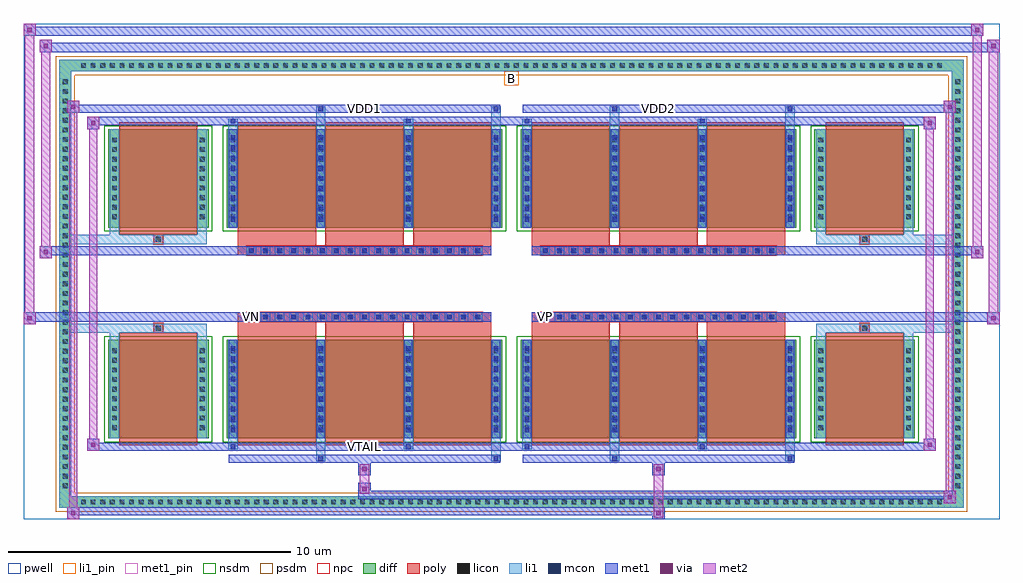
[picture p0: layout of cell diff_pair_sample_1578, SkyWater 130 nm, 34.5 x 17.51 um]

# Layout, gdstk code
import gdstk
lib = gdstk.Library(unit=1e-6, precision=5e-09)
def R(c, l, rs):  # rectangles x0, y0, x1, y1
    for r in rs: c.add(gdstk.rectangle(r[:2], r[2:], *l))
def A(c, l, x, y, w, h, nx, ny, dx, dy):  # array of equal rectangles
    R(c, l, [(x+i*dx, y+j*dy, x+i*dx+w, y+j*dy+h) for i in range(nx) for j in range(ny)])
def P(c, l, *ps):  # polygons
    for p in ps: c.add(gdstk.Polygon(p, *l))
pwell = (64, 44)
diff = (65, 20)
poly = (66, 20)
licon = (66, 44)
li1_pin = (67, 16)
li1 = (67, 20)
mcon = (67, 44)
met1_pin = (68, 16)
met1 = (68, 20)
via = (68, 44)
met2 = (69, 20)
nsdm = (93, 44)
psdm = (94, 20)
npc = (95, 20)

diff_pair_sample_1578 = lib.new_cell('diff_pair_sample_1578')
R(diff_pair_sample_1578, pwell, [(-17.25,-8.32,17.25,9.19), (-14.57,-6.51,-0.01,-0.805), (0.01,-6.51,14.57,-0.805), (-14.57,0.805,-0.01,6.51), (0.01,0.805,14.57,6.51)])
A(diff_pair_sample_1578, diff, -15.335, -7.92, 0.41, 0.41, 90, 2, 0.34, 15.43)
A(diff_pair_sample_1578, diff, -15.98, -7.345, 0.41, 0.41, 1, 43, 0, 0.34)
A(diff_pair_sample_1578, diff, 15.57, -7.345, 0.41, 0.41, 1, 43, 0, 0.34)
R(diff_pair_sample_1578, diff, [(-15.335,-7.92,15.335,-7.51), (-15.98,-7.345,-15.57,7.345), (15.57,-7.345,15.98,7.345), (-14.26,-5.465,-10.71,-1.985), (-10.07,-5.465,-0.32,-1.985), (0.32,-5.465,10.07,-1.985), (10.71,-5.465,14.26,-1.985), (-14.26,1.985,-10.71,5.465), (-10.07,1.985,-0.32,5.465), (0.32,1.985,10.07,5.465), (10.71,1.985,14.26,5.465), (-15.335,7.51,15.335,7.92)])
P(diff_pair_sample_1578, diff, [(15.98,7.92),(-15.98,7.92),(-15.98,-7.51),(-15.57,-7.51),(-15.57,7.51),(15.57,7.51),(15.57,-7.51),(-15.57,-7.51),(-15.98,-7.51),(-15.98,-7.92),(15.98,-7.92)])
A(diff_pair_sample_1578, poly, -9.68, -5.715, 2.77, 3.98, 3, 2, 3.1, 7.45)
A(diff_pair_sample_1578, poly, 0.71, -5.715, 2.77, 3.98, 3, 2, 3.1, 7.45)
A(diff_pair_sample_1578, poly, -9.68, -1.735, 2.77, 0.4, 3, 2, 3.1, 3.07)
A(diff_pair_sample_1578, poly, 0.71, -1.735, 2.77, 0.4, 3, 2, 3.1, 3.07)
A(diff_pair_sample_1578, poly, -9.36, -1.335, 0.33, 0.33, 17, 2, 0.5, 2.34)
A(diff_pair_sample_1578, poly, 1.03, -1.335, 0.33, 0.33, 17, 2, 0.5, 2.34)
R(diff_pair_sample_1578, poly, [(-13.87,-5.715,-11.1,-1.735), (11.1,-5.715,13.87,-1.735), (-12.65,-1.735,-12.32,-1.405), (-12.65,-1.735,-12.32,-1.405), (12.32,-1.735,12.65,-1.405), (12.32,-1.735,12.65,-1.405), (-9.68,-1.335,-0.71,-1.005), (0.71,-1.335,9.68,-1.005), (-9.68,1.005,-0.71,1.335), (0.71,1.005,9.68,1.335), (-12.65,1.405,-12.32,1.735), (-12.65,1.405,-12.32,1.735), (12.32,1.405,12.65,1.735), (12.32,1.405,12.65,1.735), (-13.87,1.735,-11.1,5.715), (11.1,1.735,13.87,5.715)])
A(diff_pair_sample_1578, licon, -15.215, -7.8, 0.17, 0.17, 90, 2, 0.34, 15.43)
A(diff_pair_sample_1578, licon, -15.86, -7.225, 0.17, 0.17, 1, 43, 0, 0.34)
A(diff_pair_sample_1578, licon, 15.69, -7.225, 0.17, 0.17, 1, 43, 0, 0.34)
A(diff_pair_sample_1578, licon, -14.12, -5.17, 0.17, 0.17, 1, 9, 0, 0.34)
A(diff_pair_sample_1578, licon, -11.02, -5.17, 0.17, 0.17, 1, 9, 0, 0.34)
A(diff_pair_sample_1578, licon, -9.93, -5.17, 0.17, 0.17, 4, 9, 3.1, 0.34)
A(diff_pair_sample_1578, licon, 0.46, -5.17, 0.17, 0.17, 4, 9, 3.1, 0.34)
A(diff_pair_sample_1578, licon, 10.85, -5.17, 0.17, 0.17, 1, 9, 0, 0.34)
A(diff_pair_sample_1578, licon, 13.95, -5.17, 0.17, 0.17, 1, 9, 0, 0.34)
A(diff_pair_sample_1578, licon, -9.28, -1.255, 0.17, 0.17, 17, 2, 0.5, 2.34)
A(diff_pair_sample_1578, licon, 1.11, -1.255, 0.17, 0.17, 17, 2, 0.5, 2.34)
A(diff_pair_sample_1578, licon, -14.12, 2.28, 0.17, 0.17, 1, 9, 0, 0.34)
A(diff_pair_sample_1578, licon, -11.02, 2.28, 0.17, 0.17, 1, 9, 0, 0.34)
A(diff_pair_sample_1578, licon, -9.93, 2.28, 0.17, 0.17, 4, 9, 3.1, 0.34)
A(diff_pair_sample_1578, licon, 0.46, 2.28, 0.17, 0.17, 4, 9, 3.1, 0.34)
A(diff_pair_sample_1578, licon, 10.85, 2.28, 0.17, 0.17, 1, 9, 0, 0.34)
A(diff_pair_sample_1578, licon, 13.95, 2.28, 0.17, 0.17, 1, 9, 0, 0.34)
R(diff_pair_sample_1578, licon, [(-12.57,-1.655,-12.4,-1.485), (12.4,-1.655,12.57,-1.485), (-12.57,1.485,-12.4,1.655), (12.4,1.485,12.57,1.655)])
R(diff_pair_sample_1578, li1_pin, [(-0.25,7.01,0.25,7.51)])
A(diff_pair_sample_1578, li1, -15.295, -7.88, 0.33, 0.33, 90, 2, 0.34, 15.43)
A(diff_pair_sample_1578, li1, -15.94, -7.305, 0.33, 0.33, 1, 43, 0, 0.34)
A(diff_pair_sample_1578, li1, 15.61, -7.305, 0.33, 0.33, 1, 43, 0, 0.34)
A(diff_pair_sample_1578, li1, -10.01, -5.465, 0.33, 3.48, 4, 2, 3.1, 7.45)
A(diff_pair_sample_1578, li1, 0.38, -5.465, 0.33, 3.48, 4, 2, 3.1, 7.45)
A(diff_pair_sample_1578, li1, -14.2, -5.25, 0.33, 0.33, 1, 9, 0, 0.34)
A(diff_pair_sample_1578, li1, -11.1, -5.25, 0.33, 0.33, 1, 9, 0, 0.34)
A(diff_pair_sample_1578, li1, -10.01, -5.25, 0.33, 0.33, 4, 9, 3.1, 0.34)
A(diff_pair_sample_1578, li1, -9.93, -5.25, 0.17, 0.17, 4, 9, 3.1, 0.36)
A(diff_pair_sample_1578, li1, -9.93, -5.25, 0.17, 3.05, 4, 2, 3.1, 7.45)
A(diff_pair_sample_1578, li1, 0.38, -5.25, 0.33, 0.33, 4, 9, 3.1, 0.34)
A(diff_pair_sample_1578, li1, 0.46, -5.25, 0.17, 0.17, 4, 9, 3.1, 0.36)
A(diff_pair_sample_1578, li1, 0.46, -5.25, 0.17, 3.05, 4, 2, 3.1, 7.45)
A(diff_pair_sample_1578, li1, 10.77, -5.25, 0.33, 0.33, 1, 9, 0, 0.34)
A(diff_pair_sample_1578, li1, 13.87, -5.25, 0.33, 0.33, 1, 9, 0, 0.34)
A(diff_pair_sample_1578, li1, -9.36, -1.335, 0.33, 0.33, 17, 2, 0.5, 2.34)
A(diff_pair_sample_1578, li1, 1.03, -1.335, 0.33, 0.33, 17, 2, 0.5, 2.34)
A(diff_pair_sample_1578, li1, -14.2, 2.2, 0.33, 0.33, 1, 9, 0, 0.34)
A(diff_pair_sample_1578, li1, -11.1, 2.2, 0.33, 0.33, 1, 9, 0, 0.34)
A(diff_pair_sample_1578, li1, -10.01, 2.2, 0.33, 0.33, 4, 9, 3.1, 0.34)
A(diff_pair_sample_1578, li1, -9.93, 2.2, 0.17, 0.17, 4, 9, 3.1, 0.36)
A(diff_pair_sample_1578, li1, 0.38, 2.2, 0.33, 0.33, 4, 9, 3.1, 0.34)
A(diff_pair_sample_1578, li1, 0.46, 2.2, 0.17, 0.17, 4, 9, 3.1, 0.36)
A(diff_pair_sample_1578, li1, 10.77, 2.2, 0.33, 0.33, 1, 9, 0, 0.34)
A(diff_pair_sample_1578, li1, 13.87, 2.2, 0.33, 0.33, 1, 9, 0, 0.34)
R(diff_pair_sample_1578, li1, [(-15.98,-7.92,-15.57,-7.51), (-15.98,-7.92,-15.57,-7.51), (-15.57,-7.92,15.57,-7.51), (15.57,-7.92,15.98,-7.51), (15.57,-7.92,15.98,-7.51), (-15.98,-7.51,-15.57,7.51), (15.57,-7.51,15.98,7.51), (-6.91,-6.27,-6.58,-5.465), (-6.83,-6.27,-6.66,-6.1), (-0.71,-6.27,-0.38,-5.465), (-0.63,-6.27,-0.46,-6.1), (3.48,-6.27,3.81,-5.465), (3.56,-6.27,3.73,-6.1), (9.68,-6.27,10.01,-5.465), (9.76,-6.27,9.93,-6.1), (-10.01,-5.84,-9.68,-5.465), (-9.93,-5.84,-9.76,-5.67), (-3.81,-5.84,-3.48,-5.465), (-3.73,-5.84,-3.56,-5.67), (0.38,-5.84,0.71,-5.465), (0.46,-5.84,0.63,-5.67), (6.58,-5.84,6.91,-5.465), (6.66,-5.84,6.83,-5.67), (-14.2,-5.465,-13.87,-1.985), (-11.1,-5.465,-10.77,-1.985), (10.77,-5.465,11.1,-1.985), (13.87,-5.465,14.2,-1.985), (-14.2,-1.985,-13.87,-1.405), (-11.1,-1.985,-10.77,-1.405), (10.77,-1.985,11.1,-1.405), (13.87,-1.985,14.2,-1.405), (-15.98,-1.735,-12.65,-1.405), (-14.2,-1.735,-12.65,-1.405), (-12.65,-1.735,-12.32,-1.405), (-12.32,-1.735,-10.77,-1.405), (10.77,-1.735,12.32,-1.405), (12.32,-1.735,12.65,-1.405), (12.32,-1.735,15.98,-1.405), (12.65,-1.735,14.2,-1.405), (-15.98,1.405,-12.65,1.735), (-14.2,1.405,-12.65,1.735), (-14.2,1.405,-13.87,1.985), (-12.65,1.405,-12.32,1.735), (-12.32,1.405,-10.77,1.735), (-11.1,1.405,-10.77,1.985), (10.77,1.405,12.32,1.735), (10.77,1.405,11.1,1.985), (12.32,1.405,12.65,1.735), (12.32,1.405,15.98,1.735), (12.65,1.405,14.2,1.735), (13.87,1.405,14.2,1.985), (-14.2,1.985,-13.87,5.465), (-11.1,1.985,-10.77,5.465), (10.77,1.985,11.1,5.465), (13.87,1.985,14.2,5.465), (-10.01,5.465,-9.68,5.84), (-6.91,5.465,-6.58,6.27), (-3.81,5.465,-3.48,5.84), (-0.71,5.465,-0.38,6.27), (0.38,5.465,0.71,5.84), (3.48,5.465,3.81,6.27), (6.58,5.465,6.91,5.84), (9.68,5.465,10.01,6.27), (-9.93,5.67,-9.76,5.84), (-3.73,5.67,-3.56,5.84), (0.46,5.67,0.63,5.84), (6.66,5.67,6.83,5.84), (-6.83,6.1,-6.66,6.27), (-0.63,6.1,-0.46,6.27), (3.56,6.1,3.73,6.27), (9.76,6.1,9.93,6.27), (-15.98,7.51,-15.57,7.92), (-15.98,7.51,-15.57,7.92), (-15.57,7.51,15.57,7.92), (15.57,7.51,15.98,7.92), (15.57,7.51,15.98,7.92)])
A(diff_pair_sample_1578, mcon, -9.93, -5.25, 0.17, 0.17, 4, 9, 3.1, 0.36)
A(diff_pair_sample_1578, mcon, 0.46, -5.25, 0.17, 0.17, 4, 9, 3.1, 0.36)
A(diff_pair_sample_1578, mcon, -9.28, -1.255, 0.17, 0.17, 17, 2, 0.5, 2.34)
A(diff_pair_sample_1578, mcon, 1.11, -1.255, 0.17, 0.17, 17, 2, 0.5, 2.34)
A(diff_pair_sample_1578, mcon, -9.93, 2.2, 0.17, 0.17, 4, 9, 3.1, 0.36)
A(diff_pair_sample_1578, mcon, 0.46, 2.2, 0.17, 0.17, 4, 9, 3.1, 0.36)
R(diff_pair_sample_1578, mcon, [(-6.83,-6.27,-6.66,-6.1), (-0.63,-6.27,-0.46,-6.1), (3.56,-6.27,3.73,-6.1), (9.76,-6.27,9.93,-6.1), (-9.93,-5.84,-9.76,-5.67), (-3.73,-5.84,-3.56,-5.67), (0.46,-5.84,0.63,-5.67), (6.66,-5.84,6.83,-5.67), (-9.93,5.67,-9.76,5.84), (-3.73,5.67,-3.56,5.84), (0.46,5.67,0.63,5.84), (6.66,5.67,6.83,5.84), (-6.83,6.1,-6.66,6.27), (-0.63,6.1,-0.46,6.27), (3.56,6.1,3.73,6.27), (9.76,6.1,9.93,6.27)])
R(diff_pair_sample_1578, met1_pin, [(-5.33,-5.88,-5.06,-5.61), (-9.33,-1.295,-9.06,-1.025), (1.06,-1.295,1.33,-1.025), (-5.33,6.06,-5.06,6.33), (5.06,6.06,5.33,6.33)])
A(diff_pair_sample_1578, met1, -9.99, -5.465, 0.29, 3.48, 4, 2, 3.1, 7.45)
A(diff_pair_sample_1578, met1, 0.4, -5.465, 0.29, 3.48, 4, 2, 3.1, 7.45)
A(diff_pair_sample_1578, met1, -9.99, -5.31, 0.29, 0.29, 4, 9, 3.1, 0.36)
A(diff_pair_sample_1578, met1, 0.4, -5.31, 0.29, 0.29, 4, 9, 3.1, 0.36)
A(diff_pair_sample_1578, met1, -9.34, -1.315, 0.29, 0.29, 17, 2, 0.5, 2.34)
A(diff_pair_sample_1578, met1, 1.05, -1.315, 0.29, 0.29, 17, 2, 0.5, 2.34)
A(diff_pair_sample_1578, met1, -9.99, 2.14, 0.29, 0.29, 4, 9, 3.1, 0.36)
A(diff_pair_sample_1578, met1, 0.4, 2.14, 0.29, 0.29, 4, 9, 3.1, 0.36)
R(diff_pair_sample_1578, met1, [(-15.71,-8.32,-15.28,-7.89), (4.98,-8.32,5.41,-7.89), (-15.71,-8.18,5.41,-7.89), (15.28,-7.75,15.71,-7.32), (-5.41,-7.61,15.71,-7.32), (-5.41,-7.47,-4.98,-7.04), (-5.41,-6.76,-4.98,-6.33), (4.98,-6.76,5.41,-6.33), (-9.99,-6.33,-0.4,-6.04), (-6.89,-6.33,-6.6,-6.04), (-0.69,-6.33,-0.4,-6.04), (0.4,-6.33,9.99,-6.04), (3.5,-6.33,3.79,-6.04), (9.7,-6.33,9.99,-6.04), (-15,-5.9,-14.57,-5.47), (-15,-5.9,-9.99,-5.61), (-9.99,-5.9,-9.7,-5.61), (-9.99,-5.9,-0.4,-5.61), (-3.79,-5.9,-3.5,-5.61), (-0.4,-5.9,0.4,-5.61), (0.4,-5.9,0.69,-5.61), (0.4,-5.9,9.99,-5.61), (6.6,-5.9,6.89,-5.61), (9.99,-5.9,15,-5.61), (14.57,-5.9,15,-5.47), (-17.25,-1.435,-16.82,-1.005), (16.82,-1.435,17.25,-1.005), (-17.25,-1.335,-0.71,-1.005), (-9.68,-1.335,-0.71,-1.005), (0.71,-1.335,9.68,-1.005), (0.71,-1.335,17.25,-1.005), (-16.68,0.905,-16.25,1.335), (16.25,0.905,16.68,1.335), (-16.68,1.005,-9.68,1.335), (-9.68,1.005,-0.71,1.335), (0.71,1.005,9.68,1.335), (9.68,1.005,16.68,1.335), (-15,5.47,-14.57,5.9), (14.57,5.47,15,5.9), (-15,5.61,-9.99,5.9), (-9.99,5.61,-9.7,5.9), (-9.99,5.61,-0.4,5.9), (-3.79,5.61,-3.5,5.9), (-0.4,5.61,0.4,5.9), (0.4,5.61,0.69,5.9), (0.4,5.61,9.99,5.9), (6.6,5.61,6.89,5.9), (9.99,5.61,15,5.9), (-15.71,6.04,-15.28,6.47), (-15.71,6.04,-9.99,6.33), (-9.99,6.04,-0.4,6.33), (-6.89,6.04,-6.6,6.33), (-0.69,6.04,-0.4,6.33), (0.4,6.04,9.99,6.33), (3.5,6.04,3.79,6.33), (9.7,6.04,9.99,6.33), (9.99,6.04,15.71,6.33), (15.28,6.04,15.71,6.47), (-16.68,8.19,-16.25,8.62), (-16.68,8.19,-14.57,8.52), (-14.57,8.19,14.57,8.52), (14.57,8.19,17.25,8.52), (16.82,8.19,17.25,8.62), (-17.25,8.76,-16.82,9.19), (-17.25,8.76,-14.57,9.09), (-14.57,8.76,14.57,9.09), (14.57,8.76,16.68,9.09), (16.25,8.76,16.68,9.19)])
R(diff_pair_sample_1578, via, [(-15.57,-8.18,-15.42,-8.03), (5.12,-8.18,5.27,-8.03), (15.42,-7.61,15.57,-7.46), (-5.27,-7.33,-5.12,-7.18), (-5.27,-6.62,-5.12,-6.47), (5.12,-6.62,5.27,-6.47), (-14.86,-5.76,-14.71,-5.61), (14.71,-5.76,14.86,-5.61), (-17.11,-1.295,-16.96,-1.145), (16.96,-1.295,17.11,-1.145), (-16.54,1.045,-16.39,1.195), (16.39,1.045,16.54,1.195), (-14.86,5.61,-14.71,5.76), (14.71,5.61,14.86,5.76), (-15.57,6.18,-15.42,6.33), (15.42,6.18,15.57,6.33), (-16.54,8.33,-16.39,8.48), (16.96,8.33,17.11,8.48), (-17.11,8.9,-16.96,9.05), (16.39,8.9,16.54,9.05)])
R(diff_pair_sample_1578, met2, [(-15.71,-8.32,-15.28,-7.89), (-15.64,-8.32,-15.35,6.47), (-15.35,-8.32,-15.28,-7.89), (-15.66,-8.27,-15.33,-7.94), (5.03,-8.27,5.36,-7.94), (5.03,-7.94,5.36,-6.71), (15.28,-7.75,15.71,-7.32), (15.35,-7.75,15.64,6.47), (15.64,-7.75,15.71,-7.32), (15.33,-7.7,15.66,-7.37), (-5.36,-7.42,-5.03,-7.09), (-5.36,-7.09,-5.03,-6.71), (-5.36,-6.71,-5.03,-6.38), (5.03,-6.71,5.36,-6.38), (-15,-5.9,-14.57,-5.47), (-14.93,-5.9,-14.64,5.9), (-14.64,-5.9,-14.57,-5.47), (14.57,-5.9,15,-5.47), (14.64,-5.9,14.93,5.9), (14.93,-5.9,15,-5.47), (-14.95,-5.85,-14.62,-5.52), (14.62,-5.85,14.95,-5.52), (-17.25,-1.435,-16.82,-1.005), (-17.2,-1.435,-16.87,9.19), (-16.87,-1.435,-16.82,-1.005), (16.82,-1.435,17.25,-1.005), (16.87,-1.435,17.2,8.62), (17.2,-1.435,17.25,-1.005), (-17.2,-1.385,-16.87,-1.055), (16.87,-1.385,17.2,-1.055), (-16.68,0.905,-16.25,1.335), (-16.63,0.905,-16.3,8.62), (-16.3,0.905,-16.25,1.335), (16.25,0.905,16.68,1.335), (16.3,0.905,16.63,9.19), (16.63,0.905,16.68,1.335), (-16.63,0.955,-16.3,1.285), (16.3,0.955,16.63,1.285), (-15,5.47,-14.57,5.9), (-14.64,5.47,-14.57,5.9), (14.57,5.47,15,5.9), (14.93,5.47,15,5.9), (-14.95,5.52,-14.62,5.85), (14.62,5.52,14.95,5.85), (-15.71,6.04,-15.28,6.47), (-15.35,6.04,-15.28,6.47), (15.28,6.04,15.71,6.47), (15.64,6.04,15.71,6.47), (-15.66,6.09,-15.33,6.42), (15.33,6.09,15.66,6.42), (-16.68,8.19,-16.25,8.62), (-16.3,8.19,-16.25,8.62), (16.82,8.19,17.25,8.62), (17.2,8.19,17.25,8.62), (-16.63,8.24,-16.3,8.57), (16.87,8.24,17.2,8.57), (-17.25,8.76,-16.82,9.19), (-16.87,8.76,-16.82,9.19), (16.25,8.76,16.68,9.19), (16.63,8.76,16.68,9.19), (-17.2,8.81,-16.87,9.14), (16.3,8.81,16.63,9.14)])
R(diff_pair_sample_1578, nsdm, [(-14.39,-5.595,-10.58,-1.855), (-10.2,-5.595,-0.19,-1.855), (0.19,-5.595,10.2,-1.855), (10.58,-5.595,14.39,-1.855), (-14.39,1.855,-10.58,5.595), (-10.2,1.855,-0.19,5.595), (0.19,1.855,10.2,5.595), (10.58,1.855,14.39,5.595)])
P(diff_pair_sample_1578, psdm, [(16.11,8.05),(-16.11,8.05),(-16.11,-7.38),(-15.44,-7.38),(-15.44,7.38),(15.44,7.38),(15.44,-7.38),(-15.44,-7.38),(-16.11,-7.38),(-16.11,-8.05),(16.11,-8.05)])
A(diff_pair_sample_1578, npc, -9.38, -1.355, 0.37, 0.37, 17, 2, 0.5, 2.34)
A(diff_pair_sample_1578, npc, 1.01, -1.355, 0.37, 0.37, 17, 2, 0.5, 2.34)
R(diff_pair_sample_1578, npc, [(-12.67,-1.755,-12.3,-1.385), (12.3,-1.755,12.67,-1.385), (-9.38,-1.355,-8.51,-0.985), (-9.38,-1.355,-8.51,-0.985), (-8.88,-1.355,-8.01,-0.985), (-8.88,-1.355,-8.01,-0.985), (-8.38,-1.355,-7.51,-0.985), (-8.38,-1.355,-7.51,-0.985), (-7.88,-1.355,-7.01,-0.985), (-7.88,-1.355,-7.01,-0.985), (-7.38,-1.355,-6.51,-0.985), (-7.38,-1.355,-6.51,-0.985), (-6.88,-1.355,-6.01,-0.985), (-6.88,-1.355,-6.01,-0.985), (-6.38,-1.355,-5.51,-0.985), (-6.38,-1.355,-5.51,-0.985), (-5.88,-1.355,-5.01,-0.985), (-5.88,-1.355,-5.01,-0.985), (-5.38,-1.355,-4.51,-0.985), (-5.38,-1.355,-4.51,-0.985), (-4.88,-1.355,-4.01,-0.985), (-4.88,-1.355,-4.01,-0.985), (-4.38,-1.355,-3.51,-0.985), (-4.38,-1.355,-3.51,-0.985), (-3.88,-1.355,-3.01,-0.985), (-3.88,-1.355,-3.01,-0.985), (-3.38,-1.355,-2.51,-0.985), (-3.38,-1.355,-2.51,-0.985), (-2.88,-1.355,-2.01,-0.985), (-2.88,-1.355,-2.01,-0.985), (-2.38,-1.355,-1.51,-0.985), (-2.38,-1.355,-1.51,-0.985), (-1.88,-1.355,-1.01,-0.985), (-1.88,-1.355,-1.01,-0.985), (1.01,-1.355,1.88,-0.985), (1.01,-1.355,1.88,-0.985), (1.51,-1.355,2.38,-0.985), (1.51,-1.355,2.38,-0.985), (2.01,-1.355,2.88,-0.985), (2.01,-1.355,2.88,-0.985), (2.51,-1.355,3.38,-0.985), (2.51,-1.355,3.38,-0.985), (3.01,-1.355,3.88,-0.985), (3.01,-1.355,3.88,-0.985), (3.51,-1.355,4.38,-0.985), (3.51,-1.355,4.38,-0.985), (4.01,-1.355,4.88,-0.985), (4.01,-1.355,4.88,-0.985), (4.51,-1.355,5.38,-0.985), (4.51,-1.355,5.38,-0.985), (5.01,-1.355,5.88,-0.985), (5.01,-1.355,5.88,-0.985), (5.51,-1.355,6.38,-0.985), (5.51,-1.355,6.38,-0.985), (6.01,-1.355,6.88,-0.985), (6.01,-1.355,6.88,-0.985), (6.51,-1.355,7.38,-0.985), (6.51,-1.355,7.38,-0.985), (7.01,-1.355,7.88,-0.985), (7.01,-1.355,7.88,-0.985), (7.51,-1.355,8.38,-0.985), (7.51,-1.355,8.38,-0.985), (8.01,-1.355,8.88,-0.985), (8.01,-1.355,8.88,-0.985), (8.51,-1.355,9.38,-0.985), (8.51,-1.355,9.38,-0.985), (-9.38,0.985,-8.51,1.355), (-9.38,0.985,-8.51,1.355), (-8.88,0.985,-8.01,1.355), (-8.88,0.985,-8.01,1.355), (-8.38,0.985,-7.51,1.355), (-8.38,0.985,-7.51,1.355), (-7.88,0.985,-7.01,1.355), (-7.88,0.985,-7.01,1.355), (-7.38,0.985,-6.51,1.355), (-7.38,0.985,-6.51,1.355), (-6.88,0.985,-6.01,1.355), (-6.88,0.985,-6.01,1.355), (-6.38,0.985,-5.51,1.355), (-6.38,0.985,-5.51,1.355), (-5.88,0.985,-5.01,1.355), (-5.88,0.985,-5.01,1.355), (-5.38,0.985,-4.51,1.355), (-5.38,0.985,-4.51,1.355), (-4.88,0.985,-4.01,1.355), (-4.88,0.985,-4.01,1.355), (-4.38,0.985,-3.51,1.355), (-4.38,0.985,-3.51,1.355), (-3.88,0.985,-3.01,1.355), (-3.88,0.985,-3.01,1.355), (-3.38,0.985,-2.51,1.355), (-3.38,0.985,-2.51,1.355), (-2.88,0.985,-2.01,1.355), (-2.88,0.985,-2.01,1.355), (-2.38,0.985,-1.51,1.355), (-2.38,0.985,-1.51,1.355), (-1.88,0.985,-1.01,1.355), (-1.88,0.985,-1.01,1.355), (1.01,0.985,1.88,1.355), (1.01,0.985,1.88,1.355), (1.51,0.985,2.38,1.355), (1.51,0.985,2.38,1.355), (2.01,0.985,2.88,1.355), (2.01,0.985,2.88,1.355), (2.51,0.985,3.38,1.355), (2.51,0.985,3.38,1.355), (3.01,0.985,3.88,1.355), (3.01,0.985,3.88,1.355), (3.51,0.985,4.38,1.355), (3.51,0.985,4.38,1.355), (4.01,0.985,4.88,1.355), (4.01,0.985,4.88,1.355), (4.51,0.985,5.38,1.355), (4.51,0.985,5.38,1.355), (5.01,0.985,5.88,1.355), (5.01,0.985,5.88,1.355), (5.51,0.985,6.38,1.355), (5.51,0.985,6.38,1.355), (6.01,0.985,6.88,1.355), (6.01,0.985,6.88,1.355), (6.51,0.985,7.38,1.355), (6.51,0.985,7.38,1.355), (7.01,0.985,7.88,1.355), (7.01,0.985,7.88,1.355), (7.51,0.985,8.38,1.355), (7.51,0.985,8.38,1.355), (8.01,0.985,8.88,1.355), (8.01,0.985,8.88,1.355), (8.51,0.985,9.38,1.355), (8.51,0.985,9.38,1.355), (-12.67,1.385,-12.3,1.755), (12.3,1.385,12.67,1.755)])
diff_pair_sample_1578.add(gdstk.Label('VTAIL', (-5.195,-5.745), layer=68, texttype=5))
diff_pair_sample_1578.add(gdstk.Label('VN', (-9.195,-1.16), layer=68, texttype=5))
diff_pair_sample_1578.add(gdstk.Label('VP', (1.195,-1.16), layer=68, texttype=5))
diff_pair_sample_1578.add(gdstk.Label('B', (0,7.26), layer=67, texttype=5))
diff_pair_sample_1578.add(gdstk.Label('VDD2', (5.195,6.195), layer=68, texttype=5))
diff_pair_sample_1578.add(gdstk.Label('VDD1', (-5.195,6.195), layer=68, texttype=5))

lib.write_gds('diff_pair_sample_1578.gds')
